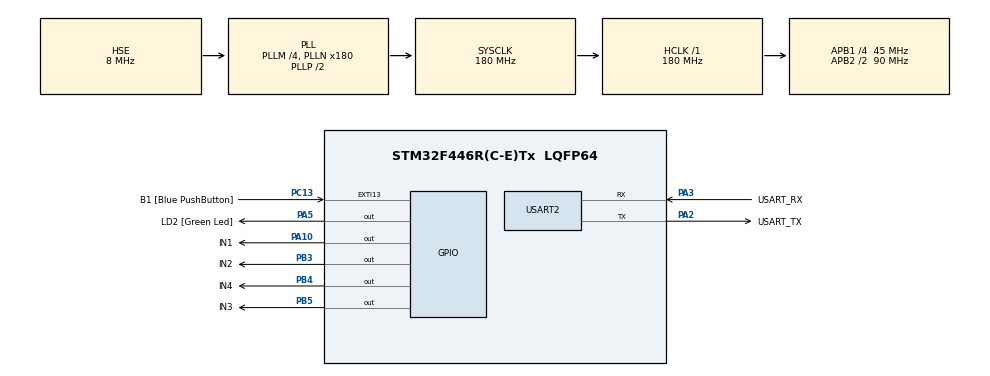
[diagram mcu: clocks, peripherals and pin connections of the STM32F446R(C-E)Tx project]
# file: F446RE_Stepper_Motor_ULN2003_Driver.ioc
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Mcu.Family=STM32F4
Mcu.Name=STM32F446R(C-E)Tx
Mcu.Package=LQFP64
NVIC.EXTI15_10_IRQn=true\:0\:0\:false\:false\:true\:true\:true\:true
NVIC.PriorityGroup=NVIC_PRIORITYGROUP_0
NVIC.TIM1_UP_TIM10_IRQn=true\:0\:0\:false\:false\:true\:true\:true\:true
PA10.GPIO_Label=IN1
PA10.Signal=GPIO_Output
PA13.GPIO_Label=TMS
PA13.Mode=Serial_Wire
PA13.Signal=SYS_JTMS-SWDIO
PA14.GPIO_Label=TCK
PA14.Mode=Serial_Wire
PA14.Signal=SYS_JTCK-SWCLK
PA2.GPIO_Label=USART_TX
PA2.Mode=Asynchronous
PA2.Signal=USART2_TX
PA3.GPIO_Label=USART_RX
PA3.Mode=Asynchronous
PA3.Signal=USART2_RX
PA5.GPIO_Label=LD2 [Green Led]
PA5.Signal=GPIO_Output
PB3.GPIO_Label=IN2
PB3.Signal=GPIO_Output
PB4.GPIO_Label=IN4
PB4.Signal=GPIO_Output
PB5.GPIO_Label=IN3
PB5.Signal=GPIO_Output
PC13.GPIO_Label=B1 [Blue PushButton]
PC13.GPIO_ModeDefaultEXTI=GPIO_MODE_IT_FALLING
PC13.Signal=GPXTI13
PC14-OSC32_IN.Mode=LSE-External-Oscillator
PC14-OSC32_IN.Signal=RCC_OSC32_IN
PC15-OSC32_OUT.Mode=LSE-External-Oscillator
PC15-OSC32_OUT.Signal=RCC_OSC32_OUT
PH0-OSC_IN.Mode=HSE-External-Oscillator
PH0-OSC_IN.Signal=RCC_OSC_IN
PH1-OSC_OUT.Mode=HSE-External-Oscillator
PH1-OSC_OUT.Signal=RCC_OSC_OUT
ProjectManager.HeapSize=0x200
ProjectManager.StackSize=0x400
ProjectManager.TargetToolchain=STM32CubeIDE
RCC.48MHZClocksFreq_Value=84000000
RCC.AHBFreq_Value=180000000
RCC.APB1CLKDivider=RCC_HCLK_DIV4
RCC.APB1Freq_Value=45000000
RCC.APB1TimFreq_Value=90000000
RCC.APB2CLKDivider=RCC_HCLK_DIV2
RCC.APB2Freq_Value=90000000
RCC.APB2TimFreq_Value=180000000
RCC.CortexFreq_Value=180000000
RCC.FLatency-AdvancedSettings=FLASH_LATENCY_5
RCC.HCLKFreq_Value=180000000
RCC.HSE_VALUE=8000000
RCC.HSI_VALUE=16000000
RCC.PLLM=4
RCC.PLLN=180
RCC.PLLSourceVirtual=RCC_PLLSOURCE_HSE
RCC.SYSCLKFreq_VALUE=180000000
RCC.SYSCLKSource=RCC_SYSCLKSOURCE_PLLCLK
RCC.USBFreq_Value=180000000
RCC.VCOOutputFreq_Value=360000000
TIM1.Period=0
TIM1.Prescaler=180-1
USART2.VirtualMode=VM_ASYNC
VP_TIM1_VS_ClockSourceINT.Mode=Internal
board=NUCLEO-F446RE

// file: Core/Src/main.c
/* USER CODE BEGIN Header */
/**
  ******************************************************************************
  * @file           : main.c
  * @brief          : Main program body
  ******************************************************************************
  * @attention
  *
  * Copyright (c) 2024 STMicroelectronics.
  * All rights reserved.
  *
  * This software is licensed under terms that can be found in the LICENSE file
  * in the root directory of this software component.
  * If no LICENSE file comes with this software, it is provided AS-IS.
  *
  ******************************************************************************
  */
/* USER CODE END Header */
#include "main.h"

TIM_HandleTypeDef htim1;

UART_HandleTypeDef huart2;

/* USER CODE BEGIN PV */
void Motor_CW_rev(uint8_t rev);
void Motor_CCW_rev(uint8_t rev);
/* USER CODE END PV */

void SystemClock_Config(void);
static void MX_GPIO_Init(void);
static void MX_USART2_UART_Init(void);
static void MX_TIM1_Init(void);

int main(void)
{

  /* MCU Configuration--------------------------------------------------------*/

  /* Reset of all peripherals, Initializes the Flash interface and the Systick. */
  HAL_Init();

  /* Configure the system clock */
  SystemClock_Config();

  /* Initialize all configured peripherals */
  MX_GPIO_Init();
  MX_USART2_UART_Init();
  MX_TIM1_Init();

  /* Infinite loop */
  /* USER CODE BEGIN WHILE */
  while (1)
  {
	  Motor_CW_rev(2);
	  HAL_Delay(1000);
	  Motor_CCW_rev(1);
	  HAL_Delay(1000);
    /* USER CODE END WHILE */

  }
}

void SystemClock_Config(void)
{
  RCC_OscInitTypeDef RCC_OscInitStruct = {0};
  RCC_ClkInitTypeDef RCC_ClkInitStruct = {0};

  /** Configure the main internal regulator output voltage
  */
  __HAL_RCC_PWR_CLK_ENABLE();
  __HAL_PWR_VOLTAGESCALING_CONFIG(PWR_REGULATOR_VOLTAGE_SCALE1);

  /** Initializes the RCC Oscillators according to the specified parameters
  * in the RCC_OscInitTypeDef structure.
  */
  RCC_OscInitStruct.OscillatorType = RCC_OSCILLATORTYPE_HSE;
  RCC_OscInitStruct.HSEState = RCC_HSE_ON;
  RCC_OscInitStruct.PLL.PLLState = RCC_PLL_ON;
  RCC_OscInitStruct.PLL.PLLSource = RCC_PLLSOURCE_HSE;
  RCC_OscInitStruct.PLL.PLLM = 4;
  RCC_OscInitStruct.PLL.PLLN = 180;
  RCC_OscInitStruct.PLL.PLLP = RCC_PLLP_DIV2;
  RCC_OscInitStruct.PLL.PLLQ = 2;
  RCC_OscInitStruct.PLL.PLLR = 2;
  if (HAL_RCC_OscConfig(&RCC_OscInitStruct) != HAL_OK)
  {
    Error_Handler();
  }

  /** Activate the Over-Drive mode
  */
  if (HAL_PWREx_EnableOverDrive() != HAL_OK)
  {
    Error_Handler();
  }

  /** Initializes the CPU, AHB and APB buses clocks
  */
  RCC_ClkInitStruct.ClockType = RCC_CLOCKTYPE_HCLK|RCC_CLOCKTYPE_SYSCLK
                              |RCC_CLOCKTYPE_PCLK1|RCC_CLOCKTYPE_PCLK2;
  RCC_ClkInitStruct.SYSCLKSource = RCC_SYSCLKSOURCE_PLLCLK;
  RCC_ClkInitStruct.AHBCLKDivider = RCC_SYSCLK_DIV1;
  RCC_ClkInitStruct.APB1CLKDivider = RCC_HCLK_DIV4;
  RCC_ClkInitStruct.APB2CLKDivider = RCC_HCLK_DIV2;

  if (HAL_RCC_ClockConfig(&RCC_ClkInitStruct, FLASH_LATENCY_5) != HAL_OK)
  {
    Error_Handler();
  }
}

static void MX_TIM1_Init(void)
{

  TIM_ClockConfigTypeDef sClockSourceConfig = {0};
  TIM_MasterConfigTypeDef sMasterConfig = {0};

  htim1.Instance = TIM1;
  htim1.Init.Prescaler = 180-1;
  htim1.Init.CounterMode = TIM_COUNTERMODE_UP;
  htim1.Init.Period = 0;
  htim1.Init.ClockDivision = TIM_CLOCKDIVISION_DIV1;
  htim1.Init.RepetitionCounter = 0;
  htim1.Init.AutoReloadPreload = TIM_AUTORELOAD_PRELOAD_DISABLE;
  if (HAL_TIM_Base_Init(&htim1) != HAL_OK)
  {
    Error_Handler();
  }
  sClockSourceConfig.ClockSource = TIM_CLOCKSOURCE_INTERNAL;
  if (HAL_TIM_ConfigClockSource(&htim1, &sClockSourceConfig) != HAL_OK)
  {
    Error_Handler();
  }
  sMasterConfig.MasterOutputTrigger = TIM_TRGO_RESET;
  sMasterConfig.MasterSlaveMode = TIM_MASTERSLAVEMODE_DISABLE;
  if (HAL_TIMEx_MasterConfigSynchronization(&htim1, &sMasterConfig) != HAL_OK)
  {
    Error_Handler();
  }

}

static void MX_USART2_UART_Init(void)
{

  huart2.Instance = USART2;
  huart2.Init.BaudRate = 115200;
  huart2.Init.WordLength = UART_WORDLENGTH_8B;
  huart2.Init.StopBits = UART_STOPBITS_1;
  huart2.Init.Parity = UART_PARITY_NONE;
  huart2.Init.Mode = UART_MODE_TX_RX;
  huart2.Init.HwFlowCtl = UART_HWCONTROL_NONE;
  huart2.Init.OverSampling = UART_OVERSAMPLING_16;
  if (HAL_UART_Init(&huart2) != HAL_OK)
  {
    Error_Handler();
  }

}

static void MX_GPIO_Init(void)
{
  GPIO_InitTypeDef GPIO_InitStruct = {0};

  /* GPIO Ports Clock Enable */
  __HAL_RCC_GPIOC_CLK_ENABLE();
  __HAL_RCC_GPIOH_CLK_ENABLE();
  __HAL_RCC_GPIOA_CLK_ENABLE();
  __HAL_RCC_GPIOB_CLK_ENABLE();

  /*Configure GPIO pin Output Level */
  HAL_GPIO_WritePin(GPIOA, LD2_Pin|IN1_Pin, GPIO_PIN_RESET);

  /*Configure GPIO pin Output Level */
  HAL_GPIO_WritePin(GPIOB, IN2_Pin|IN4_Pin|IN3_Pin, GPIO_PIN_RESET);

  /*Configure GPIO pin : B1_Pin */
  GPIO_InitStruct.Pin = B1_Pin;
  GPIO_InitStruct.Mode = GPIO_MODE_IT_FALLING;
  GPIO_InitStruct.Pull = GPIO_NOPULL;
  HAL_GPIO_Init(B1_GPIO_Port, &GPIO_InitStruct);

  /*Configure GPIO pins : LD2_Pin IN1_Pin */
  GPIO_InitStruct.Pin = LD2_Pin|IN1_Pin;
  GPIO_InitStruct.Mode = GPIO_MODE_OUTPUT_PP;
  GPIO_InitStruct.Pull = GPIO_NOPULL;
  GPIO_InitStruct.Speed = GPIO_SPEED_FREQ_LOW;
  HAL_GPIO_Init(GPIOA, &GPIO_InitStruct);

  /*Configure GPIO pins : IN2_Pin IN4_Pin IN3_Pin */
  GPIO_InitStruct.Pin = IN2_Pin|IN4_Pin|IN3_Pin;
  GPIO_InitStruct.Mode = GPIO_MODE_OUTPUT_PP;
  GPIO_InitStruct.Pull = GPIO_NOPULL;
  GPIO_InitStruct.Speed = GPIO_SPEED_FREQ_LOW;
  HAL_GPIO_Init(GPIOB, &GPIO_InitStruct);

  /* EXTI interrupt init*/
  HAL_NVIC_SetPriority(EXTI15_10_IRQn, 0, 0);
  HAL_NVIC_EnableIRQ(EXTI15_10_IRQn);

}

/* USER CODE BEGIN 4 */
void Motor_CW_rev(uint8_t rev)
{
  for(uint16_t i=0;i<512*rev;i++)
  {
	  HAL_GPIO_WritePin(IN1_GPIO_Port, IN1_Pin, 1);
	  HAL_GPIO_WritePin(IN2_GPIO_Port, IN2_Pin, 0);
	  HAL_GPIO_WritePin(IN3_GPIO_Port, IN3_Pin, 0);
	  HAL_GPIO_WritePin(IN4_GPIO_Port, IN4_Pin, 0);
	  HAL_Delay(1);

	  HAL_GPIO_WritePin(IN1_GPIO_Port, IN1_Pin, 0);
	  HAL_GPIO_WritePin(IN2_GPIO_Port, IN2_Pin, 1);
	  HAL_GPIO_WritePin(IN3_GPIO_Port, IN3_Pin, 0);
	  HAL_GPIO_WritePin(IN4_GPIO_Port, IN4_Pin, 0);
	  HAL_Delay(1);

	  HAL_GPIO_WritePin(IN1_GPIO_Port, IN1_Pin, 0);
	  HAL_GPIO_WritePin(IN2_GPIO_Port, IN2_Pin, 0);
	  HAL_GPIO_WritePin(IN3_GPIO_Port, IN3_Pin, 1);
	  HAL_GPIO_WritePin(IN4_GPIO_Port, IN4_Pin, 0);
	  HAL_Delay(1);

	  HAL_GPIO_WritePin(IN1_GPIO_Port, IN1_Pin, 0);
	  HAL_GPIO_WritePin(IN2_GPIO_Port, IN2_Pin, 0);
	  HAL_GPIO_WritePin(IN3_GPIO_Port, IN3_Pin, 0);
	  HAL_GPIO_WritePin(IN4_GPIO_Port, IN4_Pin, 1);
	  HAL_Delay(1);

  }
}

void Motor_CCW_rev(uint8_t rev)
{
  for(uint16_t i=0;i<512*rev;i++)
  {
	  HAL_GPIO_WritePin(IN1_GPIO_Port, IN1_Pin, 0);
	  HAL_GPIO_WritePin(IN2_GPIO_Port, IN2_Pin, 0);
	  HAL_GPIO_WritePin(IN3_GPIO_Port, IN3_Pin, 0);
	  HAL_GPIO_WritePin(IN4_GPIO_Port, IN4_Pin, 1);
	  HAL_Delay(1);

	  HAL_GPIO_WritePin(IN1_GPIO_Port, IN1_Pin, 0);
	  HAL_GPIO_WritePin(IN2_GPIO_Port, IN2_Pin, 0);
	  HAL_GPIO_WritePin(IN3_GPIO_Port, IN3_Pin, 1);
	  HAL_GPIO_WritePin(IN4_GPIO_Port, IN4_Pin, 0);
	  HAL_Delay(1);

	  HAL_GPIO_WritePin(IN1_GPIO_Port, IN1_Pin, 0);
	  HAL_GPIO_WritePin(IN2_GPIO_Port, IN2_Pin, 1);
	  HAL_GPIO_WritePin(IN3_GPIO_Port, IN3_Pin, 0);
	  HAL_GPIO_WritePin(IN4_GPIO_Port, IN4_Pin, 0);
	  HAL_Delay(1);

	  HAL_GPIO_WritePin(IN1_GPIO_Port, IN1_Pin, 1);
	  HAL_GPIO_WritePin(IN2_GPIO_Port, IN2_Pin, 0);
	  HAL_GPIO_WritePin(IN3_GPIO_Port, IN3_Pin, 0);
	  HAL_GPIO_WritePin(IN4_GPIO_Port, IN4_Pin, 0);
	  HAL_Delay(1);

  }
}
/* USER CODE END 4 */

void Error_Handler(void)
{
  __disable_irq();
  while (1)
  {
  }
}
